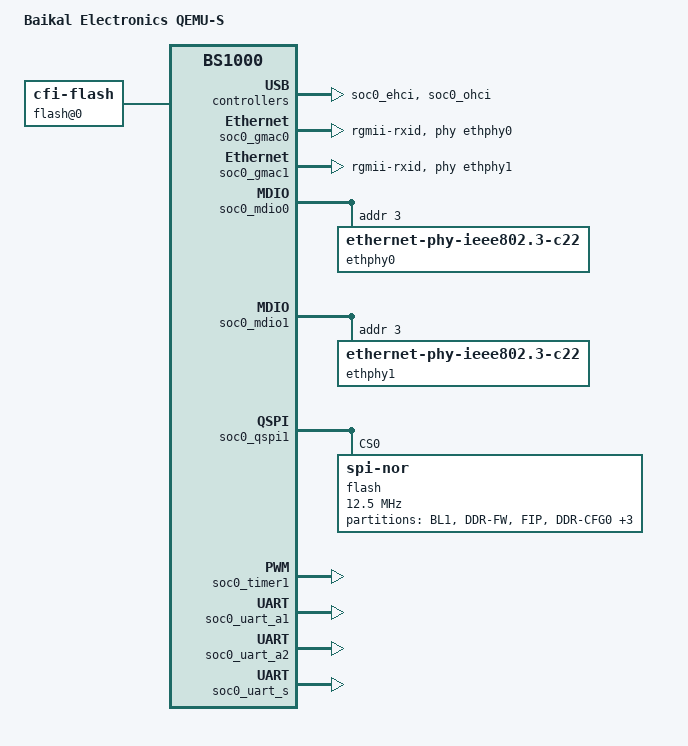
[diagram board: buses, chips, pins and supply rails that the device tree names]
// SPDX-License-Identifier: GPL-2.0
/*
 * Device tree source for Baikal Electronics QEMU-S virtual platform
 * Copyright (C) 2021-2025 Baikal Electronics, JSC
 */

/dts-v1/;

#include "bs1000.dtsi"

/ {
	model = "Baikal Electronics QEMU-S";
	compatible = "baikal,qemu-s", "baikal,bs1000";

	aliases {
		ethernet0 = &soc0_gmac0;
		ethernet1 = &soc0_gmac1;
	};

	chosen { };

	/*
	 * Device is necessary for UEFI to boot on QEMU,
	 * need to replace it with something later.
	 */
	flash@0 {
		compatible = "cfi-flash";
		reg = <0x0 0x4000000 0x0 0x4000000>;
		bank-width = <0x4>;
	};
};

&soc0_ehci {
	status = "okay";
};

&soc0_gmac0 {
	status = "okay";
	phy-handle = <&ethphy0>;
	phy-mode = "rgmii-rxid";
};

&soc0_gmac1 {
	status = "okay";
	phy-handle = <&ethphy1>;
	phy-mode = "rgmii-rxid";
};

&soc0_mdio0 {
	reset-delay-us = <10200>;
	reset-post-delay-us = <1000>;

	ethphy0: ethernet-phy@3 {
		compatible = "ethernet-phy-ieee802.3-c22";
		reg = <0x3>;
	};
};

&soc0_mdio1 {
	reset-delay-us = <10200>;
	reset-post-delay-us = <1000>;

	ethphy1: ethernet-phy@3 {
		compatible = "ethernet-phy-ieee802.3-c22";
		reg = <0x3>;
	};
};

&soc0_ohci {
	status = "okay";
};

&soc0_qspi1 {
	status = "okay";

	flash@0 {
		compatible = "jedec,spi-nor";
		reg = <0>;
		spi-max-frequency = <12500000>;
		spi-tx-bus-width = <1>;
		spi-rx-bus-width = <1>;
		status = "okay";

		partitions {
			compatible = "fixed-partitions";
			#address-cells = <1>;
			#size-cells = <1>;

			partition@0 {
				label = "BL1";
				reg = <0x000000 0x20000>;
			};

			partition@20000 {
				label = "DDR-FW";
				reg = <0x020000 0x20000>;
			};

			partition@40000 {
				label = "FIP";
				reg = <0x40000 0x200000>;
			};

			partition@240000 {
				label = "DDR-CFG0";
				reg = <0x240000 0x40000>;
			};

			partition@280000 {
				label = "DDR-CFG1";
				reg = <0x280000 0x40000>;
			};

			partition@2c0000 {
				label = "UEFI vars";
				reg = <0x2c0000 0xc0000>;
			};

			partition@380000 {
				label = "FAT";
				reg = <0x380000 0x1c80000>;
			};
		};
	};
};

&soc0_timer1 {
	status = "okay";
};

&soc0_uart_a1 {
	status = "okay";
};

&soc0_uart_a2 {
	status = "okay";
};

&soc0_uart_s {
	status = "okay";
};
